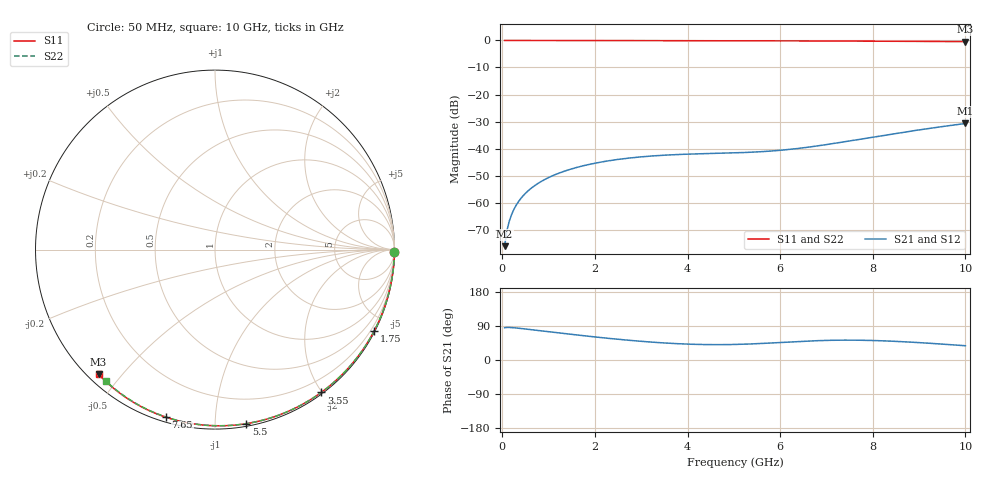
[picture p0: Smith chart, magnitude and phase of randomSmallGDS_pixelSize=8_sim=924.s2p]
! freq	dB(S11)	phase(S11)	dB(S12)	phase(S12)
!  dB(S21)	phase(S21)	dB(S22)	phase(S22)
!S-par simulation data
#  GHz  S  DB  R 50
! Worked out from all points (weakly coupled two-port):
!   200 points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, 50 MHz to 10 GHz, reference 50 ohm
!   highest |S21| = -30.71 dB at 10 GHz (marker M1); lowest = -76.1 dB at 50 MHz (marker M2)
!   lowest |S11| = -0.4 dB at 10 GHz (marker M3), VSWR 39.41, Z = 1.51 - j21.7 ohm
!   |S11| at or under -10 dB: nowhere
!   |S22| runs from -0.4 to 0.0 dB; largest |S21 - S12| = 0
!   S11 on the Smith chart (normalised r, x): 50 MHz: open; 1.75 GHz: 0.04, -4.17; 3.55 GHz: 0.02, -1.99; 5.5 GHz: 0.02, -1.20; 7.65 GHz: 0.02, -0.75; 10 GHz: 0.03, -0.43
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0.05  -0.00 -0.8  -76.11 85.2  -76.11 85.2  -0.00 -0.8
0.1  -0.00 -1.6  -70.36 85.9  -70.36 85.9  -0.00 -1.5
0.15  -0.00 -2.4  -66.91 85.9  -66.91 85.9  -0.00 -2.3
0.2  -0.00 -3.1  -64.44 85.6  -64.44 85.6  -0.00 -3.0
0.25  -0.00 -3.9  -62.52 85.1  -62.52 85.1  -0.00 -3.8
0.35  -0.00 -5.5  -59.62 83.9  -59.62 83.9  -0.00 -5.3
0.5  -0.01 -7.8  -56.56 81.8  -56.56 81.8  -0.01 -7.6
0.7  -0.01 -10.9  -53.70 79.0  -53.70 79.0  -0.01 -10.6
1  -0.02 -15.5  -50.73 74.7  -50.73 74.7  -0.02 -15.1
1.35  -0.03 -20.9  -48.31 69.7  -48.31 69.7  -0.03 -20.3
1.75  -0.03 -27.0  -46.36 64.2  -46.36 64.2  -0.03 -26.2
2.5  -0.05 -38.2  -44.01 54.7  -44.01 54.7  -0.05 -37.0
3.4  -0.07 -51.2  -42.55 45.7  -42.55 45.7  -0.07 -49.7
3.55  -0.07 -53.4  -42.40 44.6  -42.40 44.6  -0.07 -51.8
4.3  -0.09 -63.8  -41.91 40.9  -41.91 40.9  -0.09 -62.0
5.05  -0.11 -73.9  -41.57 41.1  -41.57 41.1  -0.11 -71.8
5.5  -0.13 -79.8  -41.24 43.1  -41.24 43.1  -0.12 -77.6
6.05  -0.15 -86.8  -40.56 46.6  -40.56 46.6  -0.15 -84.4
6.7  -0.18 -94.9  -39.27 50.5  -39.27 50.5  -0.18 -92.3
7.65  -0.24 -106.3  -36.75 52.3  -36.75 52.3  -0.23 -103.5
8.35  -0.29 -114.4  -34.80 50.0  -34.80 50.0  -0.28 -111.5
10  -0.44 -133.1  -30.71 37.6  -30.71 37.6  -0.43 -129.6
